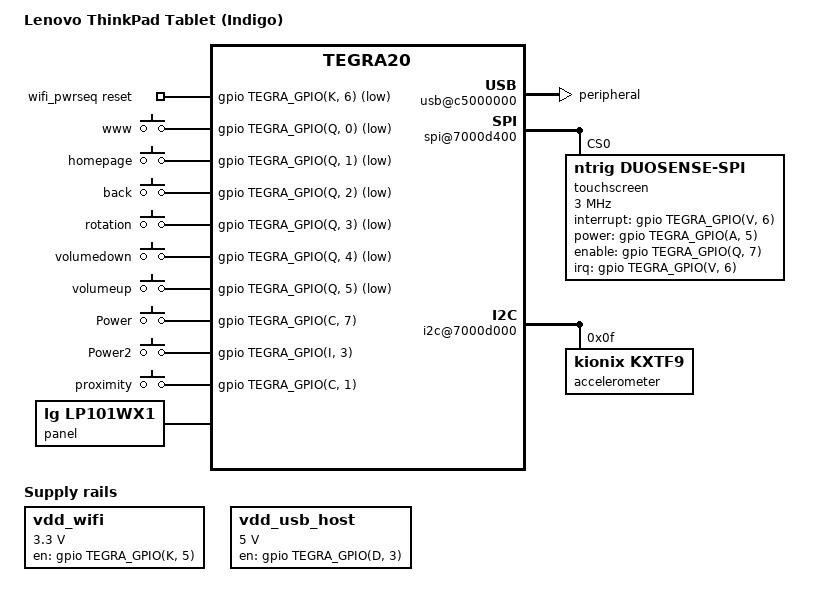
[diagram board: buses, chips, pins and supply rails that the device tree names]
// SPDX-License-Identifier: GPL-2.0-only
// Indigo overrides for the current Tegra tree, based on the verified 2019 port.
#include "tegra20-ventana.dts"
#include <dt-bindings/soc/tegra-pmc.h>

/ {
	model = "Lenovo ThinkPad Tablet (Indigo)";
	compatible = "lenovo,indigo", "nvidia,tegra20";

	usb@c5000000 {
		compatible = "nvidia,tegra20-udc";
		dr_mode = "peripheral";
	};

	usb-phy@c5000000 {
		dr_mode = "peripheral";
	};

	mmc@c8000000 {
		/delete-property/ power-gpios;
		bus-width = <4>;
		non-removable;
		vmmc-supply = <&vdd_wifi>;
		mmc-pwrseq = <&wifi_pwrseq>;
	};

	wifi_pwrseq: wifi-pwrseq {
		compatible = "mmc-pwrseq-simple";
		clocks = <&tegra_pmc TEGRA_PMC_CLK_BLINK>;
		clock-names = "ext_clock";
		reset-gpios = <&gpio TEGRA_GPIO(K, 6) GPIO_ACTIVE_LOW>;
		post-power-on-delay-ms = <200>;
	};

	vdd_wifi: regulator-wifi {
		compatible = "regulator-fixed";
		regulator-name = "wifi-enable";
		regulator-min-microvolt = <3300000>;
		regulator-max-microvolt = <3300000>;
		gpio = <&gpio TEGRA_GPIO(K, 5) GPIO_ACTIVE_HIGH>;
		enable-active-high;
		startup-delay-us = <100000>;
	};

	usb-phy@c5008000 {
		vbus-supply = <&vdd_usb_host>;
	};

	vdd_usb_host: regulator-usb-host {
		compatible = "regulator-fixed";
		regulator-name = "usb-host-vbus";
		regulator-min-microvolt = <5000000>;
		regulator-max-microvolt = <5000000>;
		gpio = <&gpio TEGRA_GPIO(D, 3) GPIO_ACTIVE_HIGH>;
		enable-active-high;
		regulator-always-on;
	};

	spi@7000d400 {
		status = "okay";
		touchscreen@0 {
			compatible = "ntrig,duosense-spi";
			reg = <0>;
			spi-max-frequency = <3000000>;
			interrupt-parent = <&gpio>;
			interrupts = <TEGRA_GPIO(V, 6) IRQ_TYPE_LEVEL_HIGH>;
			interrupt-gpios = <&gpio TEGRA_GPIO(V, 6) GPIO_ACTIVE_HIGH>;
			power-gpios = <&gpio TEGRA_GPIO(A, 5) GPIO_ACTIVE_HIGH>;
			enable-gpios = <&gpio TEGRA_GPIO(Q, 7) GPIO_ACTIVE_HIGH>;
			touchscreen-size-x = <9601>;
			touchscreen-size-y = <7201>;
		};
	};

	// Ventana leaves SPI1 pads tristated; Indigo connects its N-Trig here.
	pinmux@70000014 {
		pinmux {
			conf_ntrig_spi_down {
				nvidia,pins = "spid", "spif";
				nvidia,function = "spi1";
				nvidia,pull = <TEGRA_PIN_PULL_DOWN>;
				nvidia,tristate = <TEGRA_PIN_DISABLE>;
			};
			conf_ntrig_spi_up {
				nvidia,pins = "spie";
				nvidia,function = "spi1";
				nvidia,pull = <TEGRA_PIN_PULL_UP>;
				nvidia,tristate = <TEGRA_PIN_DISABLE>;
			};
		};
	};

	mmc@c8000400 {
		power-gpios = <&gpio TEGRA_GPIO(T, 3) GPIO_ACTIVE_HIGH>;
	};

	mmc@c8000600 {
		power-gpios = <&gpio TEGRA_GPIO(I, 6) GPIO_ACTIVE_HIGH>;
	};

	// Ventana's light sensor wiring was not present in the historical Indigo tree.
	i2c@7000c000 {
		/delete-node/ isl29018@44;
	};

	i2c@7000d000 {
		accelerometer@f {
			compatible = "kionix,kxtf9";
			reg = <0x0f>;
			// Original Indigo axis_map_x=1, axis_map_y=0, negate_z=1.
			mount-matrix = "0", "1", "0",
				       "1", "0", "0",
				       "0", "0", "-1";
		};
	};

	/delete-node/ gpio-keys;
	gpio-keys {
		compatible = "gpio-keys";

		key-www {
			label = "www";
			gpios = <&gpio TEGRA_GPIO(Q, 0) GPIO_ACTIVE_LOW>;
			linux,code = <KEY_WWW>;
		};
		key-homepage {
			label = "homepage";
			gpios = <&gpio TEGRA_GPIO(Q, 1) GPIO_ACTIVE_LOW>;
			linux,code = <KEY_HOMEPAGE>;
		};
		key-back {
			label = "back";
			gpios = <&gpio TEGRA_GPIO(Q, 2) GPIO_ACTIVE_LOW>;
			linux,code = <KEY_BACK>;
		};
		key-rotation {
			label = "rotation";
			gpios = <&gpio TEGRA_GPIO(Q, 3) GPIO_ACTIVE_LOW>;
			linux,code = <KEY_ROTATE_DISPLAY>;
		};
		key-volumedown {
			label = "volumedown";
			gpios = <&gpio TEGRA_GPIO(Q, 4) GPIO_ACTIVE_LOW>;
			linux,code = <KEY_VOLUMEDOWN>;
		};
		key-volumeup {
			label = "volumeup";
			gpios = <&gpio TEGRA_GPIO(Q, 5) GPIO_ACTIVE_LOW>;
			linux,code = <KEY_VOLUMEUP>;
		};
		key-power {
			label = "Power";
			gpios = <&gpio TEGRA_GPIO(C, 7) GPIO_ACTIVE_HIGH>;
			linux,code = <KEY_POWER>;
			wakeup-source;
		};
		key-power2 {
			label = "Power2";
			gpios = <&gpio TEGRA_GPIO(I, 3) GPIO_ACTIVE_HIGH>;
			linux,code = <KEY_POWER2>;
		};
		key-proximity {
			label = "proximity";
			gpios = <&gpio TEGRA_GPIO(C, 1) GPIO_ACTIVE_HIGH>;
			linux,code = <KEY_DASHBOARD>;
		};
	};
};

&panel {
	compatible = "lg,lp101wx1";
	/delete-property/ ddc-i2c-bus;
};
